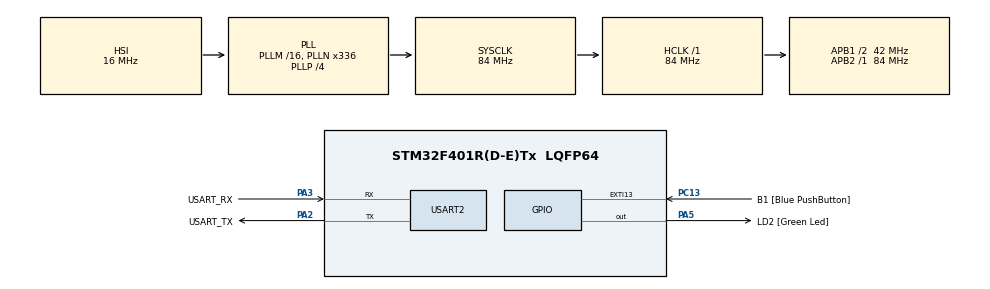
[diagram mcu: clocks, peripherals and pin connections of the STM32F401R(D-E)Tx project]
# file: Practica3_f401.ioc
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Mcu.Family=STM32F4
Mcu.Name=STM32F401R(D-E)Tx
Mcu.Package=LQFP64
NVIC.PriorityGroup=NVIC_PRIORITYGROUP_0
PA13.GPIO_Label=TMS
PA13.Mode=Serial_Wire
PA13.Signal=SYS_JTMS-SWDIO
PA14.GPIO_Label=TCK
PA14.Mode=Serial_Wire
PA14.Signal=SYS_JTCK-SWCLK
PA2.GPIO_Label=USART_TX
PA2.GPIO_Mode=GPIO_MODE_AF_PP
PA2.GPIO_PuPd=GPIO_NOPULL
PA2.GPIO_Speed=GPIO_SPEED_FREQ_LOW
PA2.Mode=Asynchronous
PA2.Signal=USART2_TX
PA3.GPIO_Label=USART_RX
PA3.GPIO_Mode=GPIO_MODE_AF_PP
PA3.GPIO_PuPd=GPIO_NOPULL
PA3.GPIO_Speed=GPIO_SPEED_FREQ_LOW
PA3.Mode=Asynchronous
PA3.Signal=USART2_RX
PA5.GPIO_Label=LD2 [Green Led]
PA5.GPIO_Mode=GPIO_MODE_OUTPUT_PP
PA5.GPIO_PuPd=GPIO_NOPULL
PA5.GPIO_Speed=GPIO_SPEED_FREQ_LOW
PA5.Signal=GPIO_Output
PB3.GPIO_Label=SWO
PB3.Signal=SYS_JTDO-SWO
PC13-ANTI_TAMP.GPIO_Label=B1 [Blue PushButton]
PC13-ANTI_TAMP.GPIO_ModeDefaultEXTI=GPIO_MODE_IT_FALLING
PC13-ANTI_TAMP.GPIO_PuPd=GPIO_NOPULL
PC13-ANTI_TAMP.Signal=GPXTI13
PC14-OSC32_IN.Mode=LSE-External-Oscillator
PC14-OSC32_IN.Signal=RCC_OSC32_IN
PC15-OSC32_OUT.Mode=LSE-External-Oscillator
PC15-OSC32_OUT.Signal=RCC_OSC32_OUT
PH0\ -\ OSC_IN.Mode=HSE-External-Clock-Source
PH0\ -\ OSC_IN.Signal=RCC_OSC_IN
PH1\ -\ OSC_OUT.Mode=HSE-External-Clock-Source
PH1\ -\ OSC_OUT.Signal=RCC_OSC_OUT
ProjectManager.HeapSize=0x200
ProjectManager.StackSize=0x400
ProjectManager.TargetToolchain=STM32CubeIDE
RCC.48MHZClocksFreq_Value=48000000
RCC.AHBFreq_Value=84000000
RCC.APB1CLKDivider=RCC_HCLK_DIV2
RCC.APB1Freq_Value=42000000
RCC.APB1TimFreq_Value=84000000
RCC.APB2Freq_Value=84000000
RCC.APB2TimFreq_Value=84000000
RCC.CortexFreq_Value=84000000
RCC.HCLKFreq_Value=84000000
RCC.HSE_VALUE=8000000
RCC.HSI_VALUE=16000000
RCC.PLLN=336
RCC.PLLP=RCC_PLLP_DIV4
RCC.PLLQ=7
RCC.SYSCLKFreq_VALUE=84000000
RCC.SYSCLKSource=RCC_SYSCLKSOURCE_PLLCLK
RCC.VCOOutputFreq_Value=336000000
USART2.VirtualMode=VM_ASYNC
board=NUCLEO-F401RE

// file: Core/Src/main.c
/* USER CODE BEGIN Header */
/**
  ******************************************************************************
  * @file           : main.c
  * @brief          : Main program body
  ******************************************************************************
  * @attention
  *
  * Copyright (c) 2023 STMicroelectronics.
  * All rights reserved.
  *
  * This software is licensed under terms that can be found in the LICENSE file
  * in the root directory of this software component.
  * If no LICENSE file comes with this software, it is provided AS-IS.
  *
  ******************************************************************************
  */
/* USER CODE END Header */
#include "main.h"

/* USER CODE BEGIN Includes */
#include "API_delay.h"
/* USER CODE END Includes */

/* USER CODE BEGIN PD */

#define PERIODO_1 1000
#define PERIODO_2 200
#define PERIODO_3 100 //valores en milisegundos

/* USER CODE END PD */

 UART_HandleTypeDef huart2;

void SystemClock_Config(void);
static void MX_GPIO_Init(void);
static void MX_USART2_UART_Init(void);

/* USER CODE BEGIN 0 */

const tick_t secuenciaPeriodos[] = {PERIODO_1, PERIODO_2, PERIODO_3};	//secuencia de periodos que hace el led
uint8_t largoSecuencia = sizeof(secuenciaPeriodos) / sizeof(secuenciaPeriodos[0]); //largo de toda la secuencia

const uint8_t NUM_PERIODOS = 5; //cantidad de periodos por cada paso de la secuencia
uint8_t numRepeticiones = NUM_PERIODOS * 2; //cantidad de cambios de estado de led en cada paso de la secuencia

/* USER CODE END 0 */

int main(void)
{

  /* MCU Configuration--------------------------------------------------------*/

  /* Reset of all peripherals, Initializes the Flash interface and the Systick. */
  HAL_Init();

  /* Configure the system clock */
  SystemClock_Config();

  /* Initialize all configured peripherals */
  MX_GPIO_Init();
  MX_USART2_UART_Init();

  /* Infinite loop */
  /* USER CODE BEGIN WHILE */

  delay_t myDelay;			//estructura que controla el delay
  delay_t * myDelayPtr = NULL;		//puntero a la estructura que controla el delay
  myDelayPtr = &myDelay;

  const tick_t T_ON = 200; 		//tiempo en ms que debe permanecer encendido el led
  const float MAX_DUTY_CYCLE = 0.9;	//ciclo de trabajo máximo
  float dutyCycle = 0.5;		//variable que se calcula para cada paso de la secuencia, tratando de que se cumpla el T_ON

  uint8_t loopCount = 0;		//variable que cuenta la posición del ciclo en la que se encuentra el programa
  tick_t periodo = secuenciaPeriodos[loopCount];	//variable para almacenar el periodo actual
  dutyCycle = (float) T_ON / periodo;
  tick_t delayTime=  periodo * dutyCycle;		//tiempo de delay para estado ON
  loopCount++;
  delayInit(myDelayPtr, delayTime);
  HAL_GPIO_WritePin(LD2_GPIO_Port, LD2_Pin, GPIO_PIN_SET);

  while (1)
  {
    /* USER CODE END WHILE */

    /* USER CODE BEGIN 3 */

	  if(delayRead(myDelayPtr)){
		  HAL_GPIO_TogglePin(LD2_GPIO_Port, LD2_Pin);
		  tick_t periodo = secuenciaPeriodos[loopCount / numRepeticiones];
		  dutyCycle = (float) T_ON / periodo;
		  if(dutyCycle > MAX_DUTY_CYCLE)
			  dutyCycle = MAX_DUTY_CYCLE;

		  delayTime = periodo * dutyCycle;
		  if(HAL_GPIO_ReadPin(LD2_GPIO_Port, LD2_Pin) == GPIO_PIN_RESET){
			  delayTime = periodo * (1 - dutyCycle);
		  }

		  delayWrite(myDelayPtr, delayTime);
		  loopCount++;
		  loopCount %= largoSecuencia * numRepeticiones;
	  }
  }

  /* USER CODE END 3 */
}

void SystemClock_Config(void)
{
  RCC_OscInitTypeDef RCC_OscInitStruct = {0};
  RCC_ClkInitTypeDef RCC_ClkInitStruct = {0};

  /** Configure the main internal regulator output voltage
  */
  __HAL_RCC_PWR_CLK_ENABLE();
  __HAL_PWR_VOLTAGESCALING_CONFIG(PWR_REGULATOR_VOLTAGE_SCALE2);

  /** Initializes the RCC Oscillators according to the specified parameters
  * in the RCC_OscInitTypeDef structure.
  */
  RCC_OscInitStruct.OscillatorType = RCC_OSCILLATORTYPE_HSI;
  RCC_OscInitStruct.HSIState = RCC_HSI_ON;
  RCC_OscInitStruct.HSICalibrationValue = RCC_HSICALIBRATION_DEFAULT;
  RCC_OscInitStruct.PLL.PLLState = RCC_PLL_ON;
  RCC_OscInitStruct.PLL.PLLSource = RCC_PLLSOURCE_HSI;
  RCC_OscInitStruct.PLL.PLLM = 16;
  RCC_OscInitStruct.PLL.PLLN = 336;
  RCC_OscInitStruct.PLL.PLLP = RCC_PLLP_DIV4;
  RCC_OscInitStruct.PLL.PLLQ = 7;
  if (HAL_RCC_OscConfig(&RCC_OscInitStruct) != HAL_OK)
  {
    Error_Handler();
  }

  /** Initializes the CPU, AHB and APB buses clocks
  */
  RCC_ClkInitStruct.ClockType = RCC_CLOCKTYPE_HCLK|RCC_CLOCKTYPE_SYSCLK
                              |RCC_CLOCKTYPE_PCLK1|RCC_CLOCKTYPE_PCLK2;
  RCC_ClkInitStruct.SYSCLKSource = RCC_SYSCLKSOURCE_PLLCLK;
  RCC_ClkInitStruct.AHBCLKDivider = RCC_SYSCLK_DIV1;
  RCC_ClkInitStruct.APB1CLKDivider = RCC_HCLK_DIV2;
  RCC_ClkInitStruct.APB2CLKDivider = RCC_HCLK_DIV1;

  if (HAL_RCC_ClockConfig(&RCC_ClkInitStruct, FLASH_LATENCY_2) != HAL_OK)
  {
    Error_Handler();
  }
}

static void MX_USART2_UART_Init(void)
{

  huart2.Instance = USART2;
  huart2.Init.BaudRate = 115200;
  huart2.Init.WordLength = UART_WORDLENGTH_8B;
  huart2.Init.StopBits = UART_STOPBITS_1;
  huart2.Init.Parity = UART_PARITY_NONE;
  huart2.Init.Mode = UART_MODE_TX_RX;
  huart2.Init.HwFlowCtl = UART_HWCONTROL_NONE;
  huart2.Init.OverSampling = UART_OVERSAMPLING_16;
  if (HAL_UART_Init(&huart2) != HAL_OK)
  {
    Error_Handler();
  }

}

static void MX_GPIO_Init(void)
{
  GPIO_InitTypeDef GPIO_InitStruct = {0};

  /* GPIO Ports Clock Enable */
  __HAL_RCC_GPIOC_CLK_ENABLE();
  __HAL_RCC_GPIOH_CLK_ENABLE();
  __HAL_RCC_GPIOA_CLK_ENABLE();
  __HAL_RCC_GPIOB_CLK_ENABLE();

  /*Configure GPIO pin Output Level */
  HAL_GPIO_WritePin(LD2_GPIO_Port, LD2_Pin, GPIO_PIN_RESET);

  /*Configure GPIO pin : B1_Pin */
  GPIO_InitStruct.Pin = B1_Pin;
  GPIO_InitStruct.Mode = GPIO_MODE_IT_FALLING;
  GPIO_InitStruct.Pull = GPIO_NOPULL;
  HAL_GPIO_Init(B1_GPIO_Port, &GPIO_InitStruct);

  /*Configure GPIO pin : LD2_Pin */
  GPIO_InitStruct.Pin = LD2_Pin;
  GPIO_InitStruct.Mode = GPIO_MODE_OUTPUT_PP;
  GPIO_InitStruct.Pull = GPIO_NOPULL;
  GPIO_InitStruct.Speed = GPIO_SPEED_FREQ_LOW;
  HAL_GPIO_Init(LD2_GPIO_Port, &GPIO_InitStruct);

}

void Error_Handler(void)
{
  __disable_irq();
  while (1)
  {
  }
}
